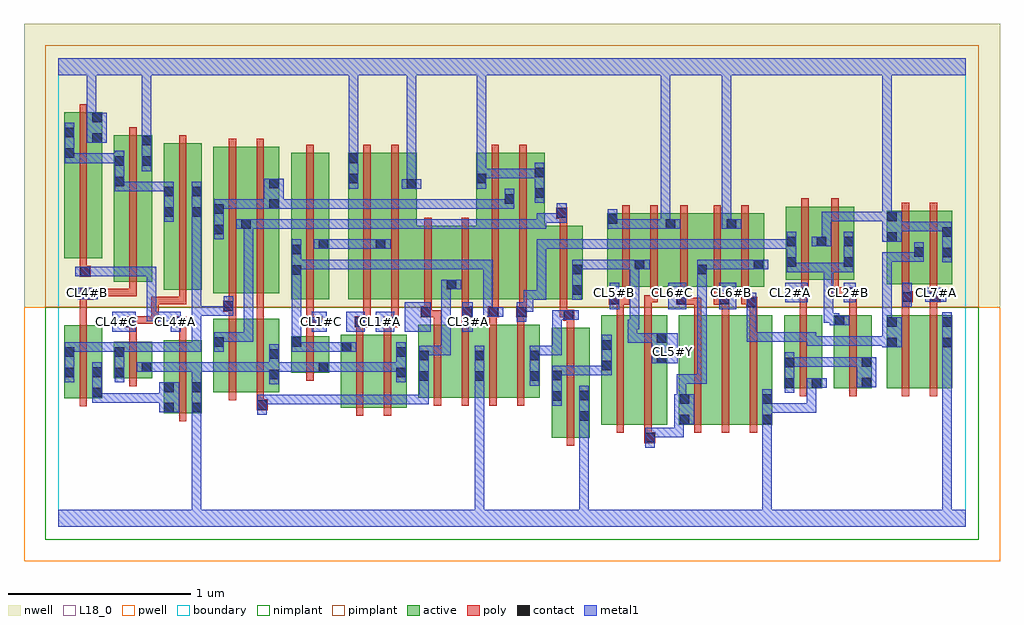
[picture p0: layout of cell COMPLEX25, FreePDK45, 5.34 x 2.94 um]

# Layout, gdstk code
import gdstk
lib = gdstk.Library(unit=1e-6, precision=1e-09)
def R(c, l, rs):  # rectangles x0, y0, x1, y1
    for r in rs: c.add(gdstk.rectangle(r[:2], r[2:], *l))
def A(c, l, x, y, w, h, nx, ny, dx, dy):  # array of equal rectangles
    R(c, l, [(x+i*dx, y+j*dy, x+i*dx+w, y+j*dy+h) for i in range(nx) for j in range(ny)])
active = (1, 0)
pwell = (2, 0)
nwell = (3, 0)
nimplant = (4, 0)
pimplant = (5, 0)
poly = (9, 0)
contact = (10, 0)
metal1 = (11, 0)
L18_0 = (18, 0)
boundary = (235, 0)

complex25 = lib.new_cell('COMPLEX25')
R(complex25, active, [(2.696,0.486,2.904,1.086), (2.844,0.486,2.904,1.086), (2.696,0.556,2.756,1.086), (2.968,0.556,3.028,1.156), (2.968,0.556,3.148,1.156), (3.148,0.556,3.328,1.156), (3.268,0.556,3.328,1.156), (3.392,0.556,3.452,1.156), (3.392,0.556,3.572,1.156), (3.572,0.556,3.724,1.156), (3.724,0.556,3.904,1.156), (3.844,0.556,3.904,1.156), (0.576,0.62,0.636,1.02), (0.576,0.62,0.784,1.02), (0.724,0.62,0.784,1.02), (1.544,0.65,1.724,1.05), (1.724,0.65,1.904,1.05), (1.844,0.65,1.904,1.05), (0.032,0.702,0.092,1.102), (0.032,0.702,0.24,1.102), (0.18,0.702,0.24,1.102), (1.968,0.704,2.028,1.104), (1.968,0.704,2.148,1.104), (2.148,0.704,2.332,1.104), (2.272,0.704,2.332,1.104), (2.272,0.704,2.452,1.104), (2.452,0.704,2.632,1.104), (2.572,0.704,2.632,1.104), (0.848,0.736,1.028,1.136), (1.028,0.736,1.208,1.136), (1.148,0.736,1.208,1.136), (0.848,0.756,0.908,1.136), (1.544,0.756,1.604,1.05), (3.968,0.756,4.028,1.156), (3.968,0.756,4.176,1.156), (4.116,0.756,4.176,0.844), (4.24,0.756,4.3,1.156), (4.24,0.756,4.448,1.156), (4.388,0.756,4.448,1.156), (4.528,0.756,4.588,1.156), (4.528,0.756,4.708,1.156), (4.708,0.756,4.888,1.156), (4.828,0.756,4.888,1.156), (0.304,0.812,0.364,1.012), (0.304,0.812,0.512,1.012), (0.452,0.842,0.512,1.012), (1.272,0.842,1.332,1.042), (1.272,0.842,1.48,1.042), (1.42,0.842,1.48,1.042), (1.272,1.244,1.48,2.044), (1.272,1.244,1.332,2.044), (1.42,1.244,1.48,2.044), (1.584,1.244,1.792,2.044), (1.732,1.244,1.96,2.044), (1.9,1.244,2.178,1.644), (2.118,1.244,2.344,1.644), (2.284,1.244,2.496,2.044), (2.436,1.244,2.66,2.044), (2.6,1.244,2.866,1.644), (2.806,1.244,2.866,1.644), (0.848,1.276,1.056,2.076), (0.848,1.276,0.908,2.076), (0.996,1.276,1.208,2.076), (2.118,1.294,2.178,1.644), (0.576,1.296,0.784,2.096), (0.576,1.296,0.636,2.044), (0.724,1.296,0.784,2.044), (3,1.312,3.208,1.712), (3.148,1.312,3.376,1.712), (3.316,1.312,3.548,1.712), (3.488,1.312,3.71,1.712), (3.65,1.312,3.858,1.712), (3.798,1.312,3.858,1.644), (4.528,1.326,4.588,1.726), (4.528,1.326,4.736,1.726), (4.676,1.326,4.888,1.726), (4.828,1.326,4.888,1.726), (0.304,1.34,0.512,2.14), (0.304,1.34,0.364,2.044), (0.452,1.34,0.512,2.14), (3.978,1.35,4.038,1.644), (3.978,1.35,4.202,1.75), (4.142,1.35,4.35,1.75), (4.29,1.35,4.35,1.75), (3.488,1.376,3.548,1.644), (3.148,1.404,3.208,1.644), (3.316,1.446,3.376,1.712), (3.65,1.446,3.71,1.712), (0.996,1.452,1.056,2.044), (1.148,1.452,1.208,2.076), (3,1.452,3.06,1.712), (0.032,1.466,0.24,2.266), (0.032,1.466,0.092,2.184), (0.18,1.466,0.24,2.266), (4.676,1.472,4.736,1.644), (1.732,1.514,1.792,2.044), (4.142,1.528,4.202,1.644), (2.436,1.538,2.496,2.044), (2.6,1.538,2.66,1.966), (1.584,1.556,1.644,2.044), (1.9,1.644,1.96,1.904), (2.284,1.644,2.344,1.932)])
R(complex25, pwell, [(-0.188,-0.188,5.148,1.2)])
R(complex25, nwell, [(-0.188,1.2,5.148,2.748)])
R(complex25, nimplant, [(-0.072,-0.072,5.032,1.2)])
R(complex25, pimplant, [(-0.072,1.2,5.032,2.632)])
A(complex25, poly, 3.476, 0.512, 0.04, 0.688, 3, 1, 0.152, 0)
A(complex25, poly, 2.052, 0.66, 0.04, 0.488, 4, 1, 0.152, 0)
A(complex25, poly, 2.052, 1.108, 0.04, 0.076, 4, 1, 0.152, 0)
R(complex25, poly, [(2.78,0.442,2.82,1.13), (3.204,0.456,3.264,0.516), (3.204,0.476,3.244,0.552), (3.052,0.512,3.092,1.2), (3.204,0.512,3.244,1.2), (0.66,0.576,0.7,1.064), (1.628,0.606,1.668,1.094), (1.78,0.606,1.82,1.094), (1.084,0.636,1.144,0.696), (1.084,0.656,1.124,0.732), (0.116,0.658,0.156,1.146), (0.932,0.692,0.972,1.18), (1.084,0.692,1.124,1.18), (4.052,0.712,4.092,1.2), (4.324,0.712,4.364,1.2), (4.612,0.712,4.652,1.2), (4.764,0.712,4.804,1.2), (0.388,0.768,0.428,1.056), (1.356,0.798,1.396,1.086), (0.388,1.016,0.428,1.13), (0.66,1.024,0.7,1.13), (1.356,1.046,1.396,1.13), (1.628,1.054,1.668,1.13), (1.78,1.054,1.82,1.13), (0.368,1.09,0.428,1.15), (0.614,1.09,0.7,1.15), (1.356,1.09,1.396,1.13), (1.356,1.09,1.396,1.13), (1.356,1.09,1.442,1.15), (1.62,1.09,1.708,1.15), (1.628,1.09,1.668,1.13), (1.628,1.09,1.668,1.13), (1.78,1.09,1.82,1.13), (1.78,1.09,1.82,1.13), (1.78,1.09,1.86,1.15), (2.78,1.09,2.82,1.166), (0.116,1.106,0.156,1.28), (0.388,1.11,0.428,1.15), (0.388,1.11,0.428,1.15), (0.388,1.11,0.548,1.15), (0.508,1.11,0.548,1.15), (0.508,1.11,0.548,1.256), (1.356,1.11,1.396,1.24), (1.668,1.11,1.708,1.24), (1.82,1.11,1.86,1.24), (2.76,1.126,2.82,1.186), (0.932,1.14,0.972,1.216), (1.084,1.14,1.124,1.224), (1.98,1.144,2.04,1.204), (2,1.144,2.04,1.184), (2,1.144,2.092,1.184), (2.204,1.144,2.244,1.184), (2.204,1.144,2.244,1.184), (2.204,1.144,2.264,1.204), (2.348,1.144,2.408,1.204), (2.356,1.144,2.396,1.184), (2.356,1.144,2.396,1.184), (2.502,1.144,2.562,1.204), (2.508,1.144,2.548,1.184), (2.508,1.144,2.548,1.184), (2.742,1.146,2.782,1.24), (2.742,1.146,2.8,1.186), (2.76,1.146,2.8,1.186), (3.052,1.16,3.092,1.252), (3.204,1.16,3.244,1.266), (3.476,1.16,3.516,1.252), (3.628,1.16,3.668,1.252), (3.78,1.16,3.82,1.236), (4.052,1.16,4.092,1.29), (4.324,1.16,4.364,1.29), (4.612,1.16,4.652,1.266), (4.764,1.16,4.804,1.266), (2,1.164,2.04,1.24), (2.204,1.164,2.244,1.24), (2.368,1.164,2.408,1.24), (2.52,1.164,2.56,1.24), (0.9,1.176,0.972,1.236), (0.932,1.176,0.972,1.216), (0.932,1.176,0.972,1.216), (1.084,1.184,1.124,1.224), (1.084,1.184,1.124,1.224), (1.084,1.184,1.124,1.224), (1.084,1.184,1.124,1.272), (0.932,1.196,0.972,1.272), (3.76,1.196,3.82,1.256), (1.356,1.2,1.396,2.088), (1.668,1.2,1.708,2.088), (1.82,1.2,1.86,2.088), (2,1.2,2.04,1.688), (2.204,1.2,2.244,1.688), (2.368,1.2,2.408,2.088), (2.52,1.2,2.56,2.088), (2.742,1.2,2.782,1.688), (3.01,1.212,3.124,1.272), (3.052,1.212,3.092,1.252), (3.052,1.212,3.092,1.252), (3.378,1.212,3.44,1.272), (3.4,1.212,3.44,1.252), (3.4,1.212,3.516,1.252), (3.582,1.212,3.668,1.272), (3.628,1.212,3.668,1.252), (3.628,1.212,3.668,1.252), (0.508,1.216,0.548,1.256), (0.508,1.216,0.7,1.256), (0.66,1.216,0.7,1.292), (0.66,1.216,0.7,1.256), (3.734,1.216,3.774,1.308), (3.734,1.216,3.8,1.256), (3.76,1.216,3.8,1.256), (3.204,1.226,3.276,1.266), (3.236,1.226,3.276,1.266), (3.236,1.226,3.276,1.266), (3.236,1.226,3.276,1.308), (4.61,1.226,4.67,1.286), (4.764,1.226,4.804,1.266), (4.764,1.226,4.804,1.266), (4.764,1.226,4.824,1.286), (0.932,1.232,0.972,2.12), (1.084,1.232,1.124,2.12), (3.084,1.232,3.124,1.308), (3.4,1.232,3.44,1.308), (3.582,1.232,3.622,1.308), (0.116,1.24,0.19,1.3), (4.612,1.246,4.652,1.322), (4.612,1.246,4.652,1.286), (4.612,1.246,4.652,1.286), (4.764,1.246,4.804,1.322), (4.042,1.25,4.102,1.31), (4.052,1.25,4.092,1.29), (4.052,1.25,4.092,1.29), (4.226,1.25,4.35,1.31), (4.31,1.25,4.35,1.29), (4.31,1.25,4.364,1.29), (0.66,1.252,0.7,2.14), (0.15,1.26,0.302,1.3), (0.262,1.26,0.302,1.3), (0.262,1.26,0.302,1.3), (0.262,1.26,0.302,1.3), (0.262,1.26,0.302,1.3), (0.262,1.26,0.302,1.3), (0.262,1.26,0.428,1.3), (0.388,1.26,0.428,1.336), (0.388,1.26,0.428,1.3), (3.084,1.268,3.124,1.756), (3.236,1.268,3.276,1.756), (3.4,1.268,3.44,1.756), (3.582,1.268,3.622,1.756), (3.734,1.268,3.774,1.756), (4.062,1.27,4.102,1.346), (4.226,1.27,4.266,1.346), (4.612,1.282,4.652,1.77), (4.764,1.282,4.804,1.77), (0.388,1.296,0.428,2.184), (4.062,1.306,4.102,1.794), (4.226,1.306,4.266,1.794), (0.116,1.366,0.176,1.426), (0.116,1.386,0.156,1.462), (0.116,1.422,0.156,2.31), (2.742,1.648,2.782,1.724), (2.722,1.684,2.782,1.744)])
R(complex25, contact, [(3.208,0.46,3.26,0.512), (3.396,0.56,3.448,0.612), (3.848,0.56,3.9,0.612), (2.848,0.578,2.9,0.63), (0.58,0.624,0.632,0.676), (0.728,0.624,0.78,0.676), (1.088,0.64,1.14,0.692), (3.396,0.672,3.448,0.724), (3.848,0.672,3.9,0.724), (2.7,0.688,2.752,0.74), (2.848,0.69,2.9,0.742), (0.184,0.706,0.236,0.758), (0.58,0.736,0.632,0.788), (0.728,0.736,0.78,0.788), (3.972,0.76,4.024,0.812), (4.12,0.76,4.172,0.812), (4.392,0.762,4.444,0.814), (1.972,0.798,2.024,0.85), (2.276,0.798,2.328,0.85), (2.576,0.798,2.628,0.85), (2.7,0.8,2.752,0.852), (1.152,0.806,1.204,0.858), (0.036,0.816,0.088,0.868), (0.308,0.816,0.36,0.868), (1.848,0.816,1.9,0.868), (0.184,0.818,0.236,0.87), (0.456,0.846,0.508,0.898), (1.424,0.846,1.476,0.898), (2.972,0.856,3.024,0.908), (3.972,0.872,4.024,0.924), (4.392,0.874,4.444,0.926), (3.272,0.892,3.324,0.944), (1.972,0.91,2.024,0.962), (2.276,0.91,2.328,0.962), (2.576,0.91,2.628,0.962), (1.152,0.918,1.204,0.97), (0.036,0.928,0.088,0.98), (0.308,0.928,0.36,0.98), (1.848,0.928,1.9,0.98), (1.548,0.956,1.6,1.008), (2.972,0.968,3.024,1.02), (4.532,0.98,4.584,1.032), (4.832,0.98,4.884,1.032), (0.852,0.984,0.904,1.036), (1.276,0.984,1.328,1.036), (3.272,1.004,3.324,1.056), (4.532,1.092,4.584,1.144), (4.832,1.092,4.884,1.144), (0.372,1.094,0.424,1.146), (0.618,1.094,0.67,1.146), (1.386,1.094,1.438,1.146), (1.624,1.094,1.676,1.146), (1.784,1.094,1.836,1.146), (4.244,1.1,4.296,1.152), (2.764,1.13,2.816,1.182), (1.984,1.148,2.036,1.2), (2.208,1.148,2.26,1.2), (2.352,1.148,2.404,1.2), (2.506,1.148,2.558,1.2), (0.904,1.18,0.956,1.232), (3.764,1.2,3.816,1.252), (3.014,1.216,3.066,1.268), (3.382,1.216,3.434,1.268), (3.612,1.216,3.664,1.268), (4.614,1.23,4.666,1.282), (4.768,1.23,4.82,1.282), (0.134,1.244,0.186,1.296), (4.046,1.254,4.098,1.306), (4.294,1.254,4.346,1.306), (2.81,1.268,2.862,1.32), (2.122,1.298,2.174,1.35), (0.12,1.37,0.172,1.422), (1.276,1.378,1.328,1.43), (2.81,1.38,2.862,1.432), (3.492,1.38,3.544,1.432), (3.152,1.408,3.204,1.46), (3.802,1.408,3.854,1.46), (3.982,1.42,4.034,1.472), (4.294,1.42,4.346,1.472), (4.832,1.474,4.884,1.526), (4.68,1.476,4.732,1.528), (1.276,1.49,1.328,1.542), (1.424,1.518,1.476,1.57), (1.736,1.518,1.788,1.57), (3.982,1.532,4.034,1.584), (4.146,1.532,4.198,1.584), (4.294,1.532,4.346,1.584), (4.532,1.558,4.584,1.61), (4.832,1.586,4.884,1.638), (0.852,1.598,0.904,1.65), (1,1.628,1.052,1.68), (3.32,1.628,3.372,1.68), (3.654,1.628,3.706,1.68), (3.004,1.656,3.056,1.708), (4.532,1.67,4.584,1.722), (2.726,1.688,2.778,1.74), (0.58,1.694,0.632,1.746), (0.728,1.694,0.78,1.746), (0.852,1.71,0.904,1.762), (1.152,1.738,1.204,1.79), (2.44,1.766,2.492,1.818), (2.604,1.798,2.656,1.85), (0.58,1.806,0.632,1.858), (0.728,1.806,0.78,1.858), (1.904,1.848,1.956,1.9), (1.152,1.85,1.204,1.902), (0.308,1.862,0.36,1.914), (1.588,1.876,1.64,1.928), (2.288,1.876,2.34,1.928), (2.604,1.91,2.656,1.962), (0.456,1.972,0.508,2.024), (0.308,1.974,0.36,2.026), (1.588,1.988,1.64,2.04), (0.036,2.016,0.088,2.068), (0.456,2.084,0.508,2.136), (0.184,2.098,0.236,2.15), (0.036,2.128,0.088,2.18), (0.184,2.21,0.236,2.262)])
A(complex25, metal1, 3.004, 1.518, 0.052, 0.052, 3, 2, 0.11, 0.11)
R(complex25, metal1, [(0,0,4.96,0.092), (0.728,0.04,0.78,0.092), (0.728,0.04,0.78,0.092), (0.728,0.04,0.78,0.092), (0.728,0.04,0.78,0.092), (0.728,0.04,0.78,0.092), (0.728,0.04,0.78,0.092), (0.728,0.04,0.78,0.648), (2.276,0.04,2.328,0.092), (2.276,0.04,2.328,0.092), (2.276,0.04,2.328,0.092), (2.276,0.04,2.328,0.092), (2.276,0.04,2.328,0.092), (2.276,0.04,2.328,0.092), (2.276,0.04,2.328,0.822), (2.848,0.04,2.9,0.092), (2.848,0.04,2.9,0.092), (2.848,0.04,2.9,0.092), (2.848,0.04,2.9,0.092), (2.848,0.04,2.9,0.092), (2.848,0.04,2.9,0.092), (2.848,0.04,2.9,0.092), (2.848,0.04,2.9,0.092), (2.848,0.04,2.9,0.602), (3.848,0.04,3.9,0.092), (3.848,0.04,3.9,0.092), (3.848,0.04,3.9,0.092), (3.848,0.04,3.9,0.092), (3.848,0.04,3.9,0.092), (3.848,0.04,3.9,0.092), (3.848,0.04,3.9,0.584), (4.832,0.04,4.884,0.092), (4.832,0.04,4.884,0.092), (4.832,0.04,4.884,0.092), (4.832,0.04,4.884,0.092), (4.832,0.04,4.884,0.092), (4.832,0.04,4.884,0.092), (4.832,0.04,4.884,0.092), (4.832,0.04,4.884,0.092), (4.832,0.04,4.884,0.092), (4.832,0.04,4.884,0.092), (4.832,0.04,4.884,0.092), (4.832,0.04,4.884,0.092), (4.832,0.04,4.884,1.004), (3.208,0.432,3.26,0.54), (3.208,0.488,3.276,0.54), (3.224,0.488,3.276,0.54), (3.224,0.488,3.42,0.54), (3.368,0.488,3.42,0.54), (3.368,0.488,3.42,0.612), (3.848,0.532,3.9,0.584), (3.848,0.532,3.9,0.584), (3.848,0.532,3.9,0.752), (2.848,0.55,2.9,0.77), (3.368,0.56,3.476,0.724), (0.728,0.596,0.78,0.648), (0.728,0.596,0.78,0.648), (0.728,0.596,0.78,0.648), (0.728,0.596,0.78,0.648), (0.728,0.596,0.78,0.648), (0.728,0.596,0.78,0.648), (0.728,0.596,0.78,0.816), (1.088,0.612,1.14,0.72), (3.848,0.622,4.01,0.674), (3.958,0.622,4.01,0.674), (3.958,0.622,4.01,0.674), (3.958,0.622,4.01,0.674), (3.958,0.622,4.144,0.674), (4.092,0.622,4.144,0.674), (4.092,0.622,4.144,0.674), (4.092,0.622,4.144,0.674), (4.092,0.622,4.144,0.812), (0.552,0.624,0.66,0.788), (2.7,0.66,2.752,0.88), (1.088,0.668,1.232,0.72), (1.18,0.668,1.232,0.72), (1.18,0.668,1.33,0.72), (1.278,0.668,1.33,0.72), (1.278,0.668,1.342,0.72), (1.29,0.668,1.342,0.72), (1.29,0.668,1.516,0.72), (1.464,0.668,1.516,0.72), (1.464,0.668,1.516,0.72), (1.464,0.668,1.516,0.72), (1.464,0.668,1.676,0.72), (1.624,0.668,1.676,0.72), (1.624,0.668,1.676,0.72), (1.624,0.668,1.676,0.72), (1.624,0.668,1.798,0.72), (1.746,0.668,1.798,0.72), (1.746,0.668,1.798,0.72), (1.746,0.668,1.798,0.72), (1.746,0.668,2.024,0.72), (1.972,0.668,2.024,0.72), (1.972,0.668,2.024,0.822), (3.382,0.672,3.434,0.724), (3.382,0.672,3.434,0.724), (3.382,0.672,3.434,0.724), (3.382,0.672,3.434,0.724), (3.382,0.672,3.434,0.834), (0.184,0.678,0.236,0.898), (0.184,0.678,0.36,0.73), (0.308,0.678,0.36,0.73), (0.308,0.678,0.36,0.73), (0.308,0.678,0.36,0.73), (0.308,0.678,0.556,0.73), (0.504,0.678,0.556,0.73), (0.504,0.678,0.604,0.73), (3.972,0.732,4.024,0.952), (4.092,0.76,4.2,0.812), (4.364,0.762,4.472,0.926), (0.728,0.764,0.78,0.816), (0.728,0.764,0.78,0.816), (0.728,0.764,0.78,0.898), (1.972,0.77,2.024,0.99), (2.276,0.77,2.328,0.822), (2.276,0.77,2.328,0.822), (2.276,0.77,2.328,0.822), (2.276,0.77,2.328,0.822), (2.276,0.77,2.328,0.822), (2.276,0.77,2.328,0.822), (2.276,0.77,2.328,0.99), (2.576,0.77,2.628,0.99), (1.152,0.778,1.204,0.998), (3.382,0.782,3.434,0.834), (3.382,0.782,3.434,0.834), (3.382,0.782,3.434,0.834), (3.382,0.782,3.544,0.834), (3.492,0.782,3.544,0.834), (3.492,0.782,3.544,0.834), (3.492,0.782,3.544,0.834), (3.492,0.782,3.544,0.834), (3.492,0.782,3.544,0.834), (3.492,0.782,3.544,1.404), (0.036,0.788,0.088,1.008), (0.308,0.788,0.36,1.008), (1.848,0.788,1.9,1.008), (2.7,0.828,2.862,0.88), (2.81,0.828,2.862,0.88), (2.81,0.828,2.862,0.88), (2.81,0.828,2.862,0.88), (2.81,0.828,3.024,0.88), (2.972,0.828,3.024,1.048), (0.428,0.846,0.536,0.898), (0.484,0.846,0.536,0.898), (0.484,0.846,0.536,0.898), (0.484,0.846,0.78,0.898), (0.728,0.846,0.78,0.898), (0.728,0.846,0.78,0.898), (0.728,0.846,0.78,0.898), (0.728,0.846,0.89,0.898), (0.838,0.846,0.89,0.898), (0.838,0.846,0.89,0.898), (0.838,0.846,0.89,0.898), (0.838,0.846,1.066,0.898), (1.014,0.846,1.066,0.898), (1.014,0.846,1.066,0.898), (1.014,0.846,1.066,0.898), (1.014,0.846,1.204,0.898), (1.152,0.846,1.33,0.898), (1.278,0.846,1.33,0.898), (1.278,0.846,1.342,0.898), (1.29,0.846,1.342,0.898), (1.29,0.846,1.448,0.898), (1.396,0.846,1.504,0.898), (1.452,0.846,1.536,0.898), (1.484,0.846,1.536,0.898), (1.484,0.846,1.664,0.898), (1.612,0.846,1.664,0.898), (1.612,0.846,1.688,0.898), (1.636,0.846,1.688,0.898), (1.636,0.846,1.786,0.898), (1.734,0.846,1.786,0.898), (1.734,0.846,1.9,0.898), (3.972,0.874,4.024,0.926), (3.972,0.874,4.024,0.926), (3.972,0.874,4.236,0.926), (4.184,0.874,4.236,0.926), (4.184,0.874,4.236,0.926), (4.184,0.874,4.236,0.926), (4.184,0.874,4.416,0.926), (4.364,0.874,4.416,0.926), (4.364,0.874,4.416,0.926), (3.244,0.892,3.386,1.056), (1.972,0.938,2.024,0.99), (1.972,0.938,2.024,0.99), (1.972,0.938,2.146,0.99), (2.094,0.938,2.146,0.99), (2.094,0.938,2.146,0.99), (2.094,0.938,2.146,0.99), (2.094,0.938,2.146,0.99), (2.094,0.938,2.146,0.99), (2.094,0.938,2.146,1.35), (2.576,0.938,2.752,0.99), (2.7,0.938,2.752,0.99), (2.7,0.938,2.752,1.182), (4.832,0.952,4.884,1.172), (0.036,0.956,0.088,1.008), (0.036,0.956,0.088,1.008), (0.036,0.956,0.236,1.008), (0.184,0.956,0.236,1.008), (0.184,0.956,0.36,1.008), (0.308,0.956,0.36,1.008), (0.308,0.956,0.36,1.008), (0.308,0.956,0.36,1.008), (0.308,0.956,0.36,1.008), (0.308,0.956,0.534,1.008), (0.482,0.956,0.534,1.008), (0.482,0.956,0.534,1.008), (0.482,0.956,0.534,1.008), (0.482,0.956,0.78,1.008), (0.728,0.956,0.78,1.008), (0.728,0.956,0.78,1.008), (0.728,0.956,0.78,1.008), (0.728,0.956,0.78,1.204), (0.852,0.956,0.904,1.064), (1.276,0.956,1.328,1.064), (1.276,0.956,1.342,1.008), (1.29,0.956,1.342,1.008), (1.29,0.956,1.516,1.008), (1.464,0.956,1.516,1.008), (1.464,0.956,1.572,1.008), (1.52,0.956,1.628,1.008), (4.504,0.98,4.612,1.144), (4.092,0.99,4.144,1.042), (4.092,0.99,4.144,1.042), (4.092,0.99,4.144,1.042), (4.092,0.99,4.346,1.042), (4.092,0.99,4.144,1.062), (4.294,0.99,4.346,1.042), (4.294,0.99,4.346,1.042), (4.294,0.99,4.346,1.042), (4.294,0.99,4.556,1.042), (3.114,1.004,3.166,1.056), (3.114,1.004,3.276,1.056), (3.114,1.004,3.166,1.13), (3.224,1.004,3.276,1.056), (3.224,1.004,3.296,1.056), (3.764,1.01,3.816,1.062), (3.764,1.01,4.01,1.062), (3.764,1.01,3.816,1.224), (3.958,1.01,4.01,1.062), (3.958,1.01,4.01,1.062), (3.958,1.01,4.01,1.062), (3.958,1.01,4.144,1.062), (4.092,1.01,4.144,1.062), (0.852,1.012,0.904,1.064), (0.852,1.012,0.904,1.064), (0.852,1.012,1.066,1.064), (1.014,1.012,1.066,1.064), (1.014,1.012,1.066,1.68), (1.276,1.012,1.328,1.064), (1.276,1.012,1.328,1.064), (1.276,1.012,1.328,1.402), (0.294,1.066,0.424,1.174), (0.614,1.066,0.67,1.174), (1.386,1.066,1.466,1.174), (1.574,1.066,1.676,1.174), (1.734,1.066,1.836,1.174), (1.894,1.066,2.036,1.228), (2.208,1.066,2.266,1.228), (3.114,1.078,3.176,1.13), (3.124,1.078,3.176,1.13), (3.124,1.078,3.176,1.13), (3.124,1.078,3.176,1.13), (3.124,1.078,3.176,1.13), (3.124,1.078,3.176,1.46), (4.504,1.092,4.556,1.144), (4.504,1.092,4.556,1.144), (4.504,1.092,4.556,1.144), (4.504,1.092,4.556,1.144), (4.504,1.092,4.556,1.5), (4.216,1.1,4.324,1.152), (4.216,1.1,4.268,1.166), (4.184,1.114,4.236,1.444), (4.184,1.114,4.268,1.166), (2.506,1.12,2.558,1.228), (0.482,1.122,0.534,1.174), (0.482,1.122,0.534,1.174), (0.482,1.122,0.534,1.174), (0.482,1.122,0.666,1.174), (0.482,1.122,0.534,1.422), (2.7,1.13,2.752,1.182), (2.7,1.13,2.788,1.182), (2.736,1.13,2.844,1.182), (2.324,1.148,2.376,1.2), (2.324,1.148,2.376,1.2), (2.324,1.148,2.432,1.2), (2.324,1.148,2.376,1.46), (0.728,1.152,0.78,1.204), (0.728,1.152,0.78,1.204), (0.728,1.152,0.78,1.204), (0.728,1.152,0.914,1.204), (0.728,1.152,0.78,1.718), (0.862,1.152,0.914,1.204), (0.862,1.152,0.956,1.204), (0.904,1.152,0.956,1.26), (3.764,1.172,3.816,1.224), (3.764,1.172,3.816,1.224), (3.764,1.172,3.816,1.28), (2.506,1.176,2.596,1.228), (2.544,1.176,2.596,1.228), (2.544,1.176,2.596,1.292), (3.014,1.188,3.066,1.334), (3.334,1.188,3.434,1.334), (3.612,1.188,3.706,1.334), (4.614,1.202,4.666,1.334), (3.974,1.226,4.098,1.334), (4.294,1.226,4.358,1.334), (4.74,1.23,4.854,1.306), (2.544,1.24,2.596,1.292), (2.544,1.24,2.668,1.292), (2.616,1.24,2.668,1.292), (2.616,1.24,2.668,1.57), (2.81,1.24,2.862,1.46), (0.106,1.244,0.214,1.306), (2.094,1.298,2.146,1.35), (2.094,1.298,2.146,1.35), (2.094,1.298,2.146,1.35), (2.094,1.298,2.146,1.35), (2.094,1.298,2.146,1.35), (2.094,1.298,2.146,1.35), (2.094,1.298,2.202,1.35), (1.276,1.35,1.328,1.402), (1.276,1.35,1.328,1.402), (1.276,1.35,1.328,1.57), (3.492,1.352,3.544,1.404), (3.492,1.352,3.544,1.404), (3.492,1.352,3.544,1.404), (3.492,1.352,3.544,1.404), (3.492,1.352,3.544,1.46), (0.092,1.37,0.2,1.422), (0.148,1.37,0.2,1.422), (0.148,1.37,0.2,1.422), (0.148,1.37,0.346,1.422), (0.294,1.37,0.346,1.422), (0.294,1.37,0.346,1.422), (0.294,1.37,0.346,1.422), (0.294,1.37,0.534,1.422), (0.482,1.37,0.534,1.422), (3.982,1.392,4.034,1.444), (3.982,1.392,4.034,1.444), (3.982,1.392,4.034,1.612), (3.982,1.392,4.236,1.444), (4.184,1.392,4.236,1.444), (4.184,1.392,4.236,1.444), (4.184,1.392,4.236,1.444), (4.184,1.392,4.236,1.444), (4.184,1.392,4.236,1.444), (4.184,1.392,4.236,1.444), (4.184,1.392,4.236,1.444), (4.184,1.392,4.346,1.444), (4.294,1.392,4.346,1.444), (4.294,1.392,4.346,1.444), (4.294,1.392,4.346,1.612), (1.276,1.408,1.394,1.46), (1.342,1.408,1.394,1.46), (1.342,1.408,1.516,1.46), (1.464,1.408,1.516,1.46), (1.464,1.408,1.516,1.46), (1.464,1.408,1.516,1.46), (1.464,1.408,1.516,1.46), (1.464,1.408,1.516,1.46), (1.464,1.408,1.646,1.46), (1.594,1.408,1.646,1.46), (1.594,1.408,1.646,1.46), (1.594,1.408,1.646,1.46), (1.594,1.408,1.836,1.46), (1.784,1.408,1.836,1.46), (1.784,1.408,1.836,1.46), (1.784,1.408,1.836,1.46), (1.784,1.408,2.036,1.46), (1.984,1.408,2.036,1.46), (1.984,1.408,2.036,1.46), (1.984,1.408,2.036,1.46), (1.984,1.408,2.218,1.46), (2.166,1.408,2.218,1.46), (2.166,1.408,2.218,1.46), (2.166,1.408,2.218,1.46), (2.166,1.408,2.376,1.46), (2.324,1.408,2.376,1.46), (2.324,1.408,2.376,1.46), (2.324,1.408,2.376,1.46), (2.81,1.408,3.056,1.46), (3.004,1.408,3.056,1.46), (3.004,1.408,3.056,1.46), (3.004,1.408,3.056,1.46), (3.004,1.408,3.176,1.46), (3.124,1.408,3.232,1.46), (3.492,1.408,3.706,1.46), (3.654,1.408,3.706,1.46), (3.654,1.408,3.706,1.46), (3.654,1.408,3.706,1.46), (3.654,1.408,3.826,1.46), (3.774,1.408,3.826,1.46), (3.774,1.408,3.826,1.46), (3.774,1.408,3.882,1.46), (4.832,1.446,4.884,1.666), (4.504,1.448,4.556,1.5), (4.504,1.448,4.556,1.5), (4.504,1.448,4.556,1.5), (4.504,1.448,4.556,1.5), (4.504,1.448,4.556,1.5), (4.504,1.448,4.732,1.5), (4.68,1.448,4.732,1.556), (1.396,1.518,1.504,1.57), (1.452,1.518,1.504,1.57), (1.452,1.518,1.504,1.57), (1.452,1.518,1.626,1.57), (1.574,1.518,1.626,1.57), (1.574,1.518,1.76,1.57), (1.708,1.518,1.816,1.57), (2.616,1.518,2.668,1.57), (2.616,1.518,2.862,1.57), (2.81,1.518,2.862,1.57), (2.81,1.518,2.862,1.57), (2.81,1.518,2.862,1.57), (2.81,1.518,3.056,1.57), (3.004,1.518,3.056,1.57), (3.004,1.518,3.056,1.57), (3.004,1.518,3.166,1.57), (3.114,1.518,3.276,1.57), (3.224,1.518,3.276,1.57), (3.224,1.518,3.276,1.57), (3.224,1.518,3.434,1.57), (3.382,1.518,3.434,1.57), (3.382,1.518,3.434,1.57), (3.382,1.518,3.434,1.57), (3.382,1.518,3.568,1.57), (3.516,1.518,3.568,1.57), (3.516,1.518,3.568,1.57), (3.516,1.518,3.568,1.57), (3.516,1.518,3.678,1.57), (3.626,1.518,3.678,1.57), (3.626,1.518,3.9,1.57), (3.848,1.518,3.9,1.57), (3.848,1.518,3.9,1.57), (3.848,1.518,3.9,1.57), (3.848,1.518,4.034,1.57), (4.118,1.532,4.226,1.584), (4.174,1.532,4.226,1.722), (4.504,1.558,4.612,1.722), (0.852,1.57,0.904,1.79), (4.56,1.614,4.612,1.666), (4.56,1.614,4.612,1.666), (4.56,1.614,4.774,1.666), (4.722,1.614,4.774,1.666), (4.722,1.614,4.884,1.666), (4.832,1.614,4.884,1.666), (4.832,1.614,4.884,1.666), (0.972,1.628,1.08,1.68), (1.014,1.628,1.066,1.68), (1.014,1.628,1.066,1.68), (1.014,1.628,1.066,1.68), (1.014,1.628,1.066,1.68), (1.014,1.628,1.066,1.68), (1.014,1.628,1.066,1.68), (1.014,1.628,1.066,1.68), (1.014,1.628,1.066,1.68), (1.014,1.628,1.218,1.68), (1.166,1.628,1.218,1.68), (1.166,1.628,1.218,1.68), (1.166,1.628,1.218,1.68), (1.166,1.628,1.218,1.68), (1.166,1.628,1.218,1.68), (1.166,1.628,1.328,1.68), (1.276,1.628,1.328,1.68), (1.276,1.628,1.342,1.68), (1.29,1.628,1.342,1.68), (1.29,1.628,1.516,1.68), (1.464,1.628,1.516,1.68), (1.464,1.628,1.516,1.68), (1.464,1.628,1.516,1.68), (1.464,1.628,1.676,1.68), (1.624,1.628,1.676,1.68), (1.624,1.628,1.676,1.68), (1.624,1.628,1.676,1.68), (1.624,1.628,1.836,1.68), (1.784,1.628,1.836,1.68), (1.784,1.628,1.836,1.68), (1.784,1.628,1.836,1.68), (1.784,1.628,2.036,1.68), (1.984,1.628,2.036,1.68), (1.984,1.628,2.036,1.68), (1.984,1.628,2.036,1.68), (1.984,1.628,2.218,1.68), (2.166,1.628,2.218,1.68), (2.166,1.628,2.218,1.68), (2.166,1.628,2.218,1.68), (2.166,1.628,2.376,1.68), (2.324,1.628,2.376,1.68), (2.324,1.628,2.376,1.68), (2.324,1.628,2.376,1.68), (2.324,1.628,2.486,1.68), (2.434,1.628,2.486,1.68), (2.434,1.628,2.486,1.68), (2.434,1.628,2.486,1.68), (2.434,1.628,2.668,1.68), (2.616,1.628,2.668,1.68), (2.616,1.628,2.668,1.68), (2.616,1.628,2.668,1.68), (2.616,1.628,2.668,1.712), (3.004,1.628,3.056,1.68), (3.004,1.628,3.166,1.68), (3.004,1.628,3.056,1.736), (3.114,1.628,3.276,1.68), (3.224,1.628,3.344,1.68), (3.292,1.628,3.344,1.68), (3.292,1.628,3.344,1.68), (3.292,1.628,3.344,1.68), (3.292,1.628,3.344,1.68), (3.292,1.628,3.344,1.68), (3.292,1.628,3.344,1.68), (3.292,1.628,3.4,1.68), (3.292,1.628,3.344,2.52), (3.626,1.628,3.678,1.68), (3.626,1.628,3.678,1.68), (3.626,1.628,3.678,1.68), (3.626,1.628,3.678,1.68), (3.626,1.628,3.678,1.68), (3.626,1.628,3.678,1.68), (3.626,1.628,3.734,1.68), (3.626,1.628,3.678,2.52), (2.616,1.66,2.668,1.712), (2.616,1.66,2.778,1.712), (2.726,1.66,2.778,1.768), (0.58,1.666,0.632,1.886), (0.728,1.666,0.78,1.886), (4.174,1.67,4.226,1.722), (4.174,1.67,4.346,1.722), (4.294,1.67,4.346,1.722), (4.294,1.67,4.346,1.722), (4.294,1.67,4.346,1.722), (4.294,1.67,4.556,1.722), (4.504,1.67,4.556,1.722), (4.504,1.67,4.556,1.722), (4.504,1.67,4.556,1.722), (4.504,1.67,4.556,1.722), (4.504,1.67,4.556,1.722), (4.504,1.67,4.556,1.722), (4.504,1.67,4.556,2.52), (0.852,1.738,0.904,1.79), (0.852,1.738,0.904,1.79), (0.852,1.738,1.024,1.79), (0.972,1.738,1.024,1.79), (0.972,1.738,1.176,1.79), (1.124,1.738,1.176,1.79), (1.124,1.738,1.176,1.79), (1.124,1.738,1.232,1.902), (1.18,1.738,1.338,1.79), (1.286,1.738,1.338,1.79), (1.286,1.738,1.338,1.79), (1.286,1.738,1.338,1.79), (1.286,1.738,1.342,1.79), (1.29,1.738,1.342,1.79), (1.29,1.738,1.516,1.79), (1.464,1.738,1.516,1.79), (1.464,1.738,1.516,1.79), (1.464,1.738,1.516,1.79), (1.464,1.738,1.676,1.79), (1.624,1.738,1.676,1.79), (1.624,1.738,1.676,1.79), (1.624,1.738,1.676,1.79), (1.624,1.738,1.836,1.79), (1.784,1.738,1.836,1.79), (1.784,1.738,1.836,1.79), (1.784,1.738,1.836,1.79), (1.784,1.738,2.036,1.79), (1.984,1.738,2.036,1.79), (1.984,1.738,2.036,1.79), (1.984,1.738,2.036,1.79), (1.984,1.738,2.218,1.79), (2.166,1.738,2.218,1.79), (2.166,1.738,2.218,1.79), (2.166,1.738,2.218,1.79), (2.166,1.738,2.376,1.79), (2.324,1.738,2.376,1.79), (2.324,1.738,2.376,1.79), (2.324,1.738,2.376,1.79), (2.324,1.738,2.492,1.79), (2.44,1.738,2.492,1.846), (2.604,1.77,2.656,1.99), (0.308,1.834,0.36,1.886), (0.308,1.834,0.36,1.886), (0.308,1.834,0.36,2.054), (0.308,1.834,0.47,1.886), (0.418,1.834,0.47,1.886), (0.418,1.834,0.632,1.886), (1.588,1.848,1.64,2.068), (1.876,1.848,1.984,1.9), (1.904,1.848,1.956,1.9), (1.904,1.848,1.956,1.9), (1.904,1.848,1.956,1.9), (1.904,1.848,1.956,1.9), (1.904,1.848,1.956,1.9), (1.904,1.848,1.956,1.9), (1.904,1.848,1.956,2.52), (2.288,1.848,2.34,1.956), (2.288,1.904,2.34,1.956), (2.288,1.904,2.34,1.956), (2.288,1.904,2.34,1.956), (2.288,1.904,2.34,1.956), (2.288,1.904,2.34,1.956), (2.288,1.904,2.34,1.956), (2.288,1.904,2.376,1.956), (2.288,1.904,2.34,2.52), (2.324,1.904,2.376,1.956), (2.324,1.904,2.486,1.956), (2.434,1.904,2.486,1.956), (2.434,1.904,2.53,1.956), (2.478,1.904,2.53,1.956), (2.478,1.904,2.656,1.956), (0.456,1.944,0.508,2.164), (0.036,1.988,0.088,2.04), (0.036,1.988,0.088,2.04), (0.036,1.988,0.088,2.208), (0.036,1.988,0.198,2.04), (0.146,1.988,0.198,2.04), (0.146,1.988,0.36,2.04), (1.588,2.016,1.64,2.068), (1.588,2.016,1.64,2.068), (1.588,2.016,1.64,2.068), (1.588,2.016,1.64,2.068), (1.588,2.016,1.64,2.068), (1.588,2.016,1.64,2.068), (1.588,2.016,1.64,2.068), (1.588,2.016,1.64,2.068), (1.588,2.016,1.64,2.52), (0.156,2.098,0.264,2.262), (0.456,2.112,0.508,2.52), (0.156,2.21,0.208,2.262), (0.156,2.21,0.208,2.262), (0.156,2.21,0.208,2.262), (0.156,2.21,0.208,2.262), (0.156,2.21,0.208,2.262), (0.156,2.21,0.208,2.262), (0.156,2.21,0.208,2.52), (0,2.468,4.96,2.56), (0.156,2.468,0.208,2.52), (0.156,2.468,0.208,2.52), (0.456,2.468,0.508,2.52), (0.456,2.468,0.508,2.52), (0.456,2.468,0.508,2.52), (0.456,2.468,0.508,2.52), (0.456,2.468,0.508,2.52), (0.456,2.468,0.508,2.52), (0.456,2.468,0.508,2.52), (0.456,2.468,0.508,2.52), (1.904,2.468,1.956,2.52), (1.904,2.468,1.956,2.52), (2.288,2.468,2.34,2.52), (2.288,2.468,2.34,2.52), (3.292,2.468,3.344,2.52), (3.292,2.468,3.344,2.52), (3.292,2.468,3.344,2.52), (3.292,2.468,3.344,2.52), (3.292,2.468,3.344,2.52), (3.292,2.468,3.344,2.52), (3.292,2.468,3.344,2.52), (3.292,2.468,3.344,2.52), (3.292,2.468,3.344,2.52), (3.292,2.468,3.344,2.52), (3.626,2.468,3.678,2.52), (3.626,2.468,3.678,2.52), (3.626,2.468,3.678,2.52), (3.626,2.468,3.678,2.52), (3.626,2.468,3.678,2.52), (3.626,2.468,3.678,2.52), (3.626,2.468,3.678,2.52), (3.626,2.468,3.678,2.52), (3.626,2.468,3.678,2.52), (3.626,2.468,3.678,2.52), (4.504,2.468,4.556,2.52), (4.504,2.468,4.556,2.52), (4.504,2.468,4.556,2.52), (4.504,2.468,4.556,2.52), (4.504,2.468,4.556,2.52), (4.504,2.468,4.556,2.52), (4.504,2.468,4.556,2.52), (4.504,2.468,4.556,2.52), (4.504,2.468,4.556,2.52), (4.504,2.468,4.556,2.52)])
A(complex25, L18_0, 1.414, 1.094, 0.052, 0.052, 4, 1, 0.16, 0)
A(complex25, L18_0, 3.014, 1.254, 0.052, 0.052, 6, 1, 0.32, 0)
A(complex25, L18_0, 3.004, 1.628, 0.052, 0.052, 3, 1, 0.11, 0)
R(complex25, L18_0, [(0,0,4.96,0.092), (0.728,0.04,0.78,0.092), (0.728,0.04,0.78,0.092), (0.728,0.04,0.78,0.092), (0.728,0.04,0.78,0.092), (0.728,0.04,0.78,0.092), (0.728,0.04,0.78,0.092), (0.728,0.04,0.78,0.648), (2.276,0.04,2.328,0.092), (2.276,0.04,2.328,0.092), (2.276,0.04,2.328,0.092), (2.276,0.04,2.328,0.092), (2.276,0.04,2.328,0.092), (2.276,0.04,2.328,0.092), (2.276,0.04,2.328,0.822), (2.848,0.04,2.9,0.092), (2.848,0.04,2.9,0.092), (2.848,0.04,2.9,0.092), (2.848,0.04,2.9,0.092), (2.848,0.04,2.9,0.092), (2.848,0.04,2.9,0.092), (2.848,0.04,2.9,0.092), (2.848,0.04,2.9,0.092), (2.848,0.04,2.9,0.602), (3.848,0.04,3.9,0.092), (3.848,0.04,3.9,0.092), (3.848,0.04,3.9,0.092), (3.848,0.04,3.9,0.092), (3.848,0.04,3.9,0.092), (3.848,0.04,3.9,0.092), (3.848,0.04,3.9,0.584), (4.832,0.04,4.884,0.092), (4.832,0.04,4.884,0.092), (4.832,0.04,4.884,0.092), (4.832,0.04,4.884,0.092), (4.832,0.04,4.884,0.092), (4.832,0.04,4.884,0.092), (4.832,0.04,4.884,0.092), (4.832,0.04,4.884,0.092), (4.832,0.04,4.884,0.092), (4.832,0.04,4.884,0.092), (4.832,0.04,4.884,0.092), (4.832,0.04,4.884,0.092), (4.832,0.04,4.884,1.004), (3.848,0.532,3.9,0.584), (3.848,0.532,3.9,0.584), (3.848,0.532,3.9,0.752), (2.848,0.55,2.9,0.77), (0.728,0.596,0.78,0.648), (0.728,0.596,0.78,0.648), (0.728,0.596,0.78,0.648), (0.728,0.596,0.78,0.648), (0.728,0.596,0.78,0.648), (0.728,0.596,0.78,0.648), (0.728,0.596,0.78,0.816), (3.848,0.622,4.01,0.674), (3.958,0.622,4.01,0.674), (3.958,0.622,4.01,0.674), (3.958,0.622,4.01,0.674), (3.958,0.622,4.144,0.674), (4.092,0.622,4.144,0.674), (4.092,0.622,4.144,0.674), (4.092,0.622,4.144,0.674), (4.092,0.622,4.144,0.812), (4.092,0.76,4.2,0.812), (0.728,0.764,0.78,0.816), (0.728,0.764,0.78,0.816), (0.728,0.764,0.78,0.898), (2.276,0.77,2.328,0.822), (2.276,0.77,2.328,0.822), (2.276,0.77,2.328,0.822), (2.276,0.77,2.328,0.822), (2.276,0.77,2.328,0.822), (2.276,0.77,2.328,0.822), (2.276,0.77,2.328,0.99), (1.152,0.778,1.204,0.998), (1.848,0.788,1.9,1.008), (0.428,0.846,0.536,0.898), (0.484,0.846,0.536,0.898), (0.484,0.846,0.536,0.898), (0.484,0.846,0.78,0.898), (0.728,0.846,0.78,0.898), (0.728,0.846,0.78,0.898), (0.728,0.846,0.78,0.898), (0.728,0.846,0.89,0.898), (0.838,0.846,0.89,0.898), (0.838,0.846,0.89,0.898), (0.838,0.846,0.89,0.898), (0.838,0.846,1.066,0.898), (1.014,0.846,1.066,0.898), (1.014,0.846,1.066,0.898), (1.014,0.846,1.066,0.898), (1.014,0.846,1.204,0.898), (1.152,0.846,1.33,0.898), (1.278,0.846,1.33,0.898), (1.278,0.846,1.342,0.898), (1.29,0.846,1.342,0.898), (1.29,0.846,1.448,0.898), (1.396,0.846,1.504,0.898), (1.452,0.846,1.536,0.898), (1.484,0.846,1.536,0.898), (1.484,0.846,1.664,0.898), (1.612,0.846,1.664,0.898), (1.612,0.846,1.688,0.898), (1.636,0.846,1.688,0.898), (1.636,0.846,1.786,0.898), (1.734,0.846,1.786,0.898), (1.734,0.846,1.9,0.898), (3.244,0.892,3.386,1.056), (3.334,0.934,3.386,0.986), (4.832,0.952,4.884,1.172), (3.114,1.004,3.166,1.056), (3.114,1.004,3.276,1.056), (3.114,1.004,3.166,1.13), (3.224,1.004,3.276,1.056), (3.224,1.004,3.296,1.056), (0.294,1.066,0.424,1.174), (0.614,1.066,0.67,1.174), (1.386,1.066,1.466,1.174), (1.574,1.066,1.676,1.174), (1.734,1.066,1.836,1.174), (1.894,1.066,2.036,1.228), (2.208,1.066,2.266,1.228), (3.114,1.078,3.176,1.13), (3.124,1.078,3.176,1.13), (3.124,1.078,3.176,1.13), (3.124,1.078,3.176,1.13), (3.124,1.078,3.176,1.13), (3.124,1.078,3.176,1.46), (0.294,1.094,0.346,1.146), (0.614,1.094,0.666,1.146), (2.214,1.094,2.266,1.146), (0.482,1.122,0.534,1.174), (0.482,1.122,0.534,1.174), (0.482,1.122,0.534,1.174), (0.482,1.122,0.534,1.422), (0.482,1.122,0.666,1.174), (3.014,1.188,3.066,1.334), (3.334,1.188,3.434,1.334), (3.612,1.188,3.706,1.334), (4.614,1.202,4.666,1.334), (3.974,1.226,4.098,1.334), (4.294,1.226,4.358,1.334), (4.74,1.23,4.854,1.306), (2.81,1.24,2.862,1.46), (0.106,1.244,0.214,1.306), (0.134,1.254,0.186,1.306), (4.774,1.254,4.826,1.306), (0.092,1.37,0.2,1.422), (0.148,1.37,0.2,1.422), (0.148,1.37,0.2,1.422), (0.148,1.37,0.346,1.422), (0.294,1.37,0.346,1.422), (0.294,1.37,0.346,1.422), (0.294,1.37,0.346,1.422), (0.294,1.37,0.534,1.422), (0.482,1.37,0.534,1.422), (2.81,1.408,3.056,1.46), (3.004,1.408,3.056,1.46), (3.004,1.408,3.056,1.46), (3.004,1.408,3.056,1.46), (3.004,1.408,3.176,1.46), (3.124,1.408,3.232,1.46), (4.832,1.446,4.884,1.666), (4.118,1.532,4.226,1.584), (4.174,1.532,4.226,1.722), (4.504,1.558,4.612,1.722), (4.56,1.614,4.612,1.666), (4.56,1.614,4.612,1.666), (4.56,1.614,4.774,1.666), (4.722,1.614,4.774,1.666), (4.722,1.614,4.884,1.666), (4.832,1.614,4.884,1.666), (4.832,1.614,4.884,1.666), (3.004,1.628,3.056,1.68), (3.004,1.628,3.166,1.68), (3.004,1.628,3.056,1.736), (3.114,1.628,3.276,1.68), (3.224,1.628,3.344,1.68), (3.292,1.628,3.4,1.68), (3.292,1.628,3.344,1.68), (3.292,1.628,3.344,1.68), (3.292,1.628,3.344,1.68), (3.292,1.628,3.344,1.68), (3.292,1.628,3.344,1.68), (3.292,1.628,3.344,1.68), (3.292,1.628,3.344,2.52), (3.626,1.628,3.734,1.68), (3.626,1.628,3.678,1.68), (3.626,1.628,3.678,1.68), (3.626,1.628,3.678,1.68), (3.626,1.628,3.678,1.68), (3.626,1.628,3.678,1.68), (3.626,1.628,3.678,1.68), (3.626,1.628,3.678,2.52), (4.174,1.67,4.226,1.722), (4.174,1.67,4.346,1.722), (4.294,1.67,4.346,1.722), (4.294,1.67,4.346,1.722), (4.294,1.67,4.346,1.722), (4.294,1.67,4.556,1.722), (4.504,1.67,4.556,1.722), (4.504,1.67,4.556,1.722), (4.504,1.67,4.556,1.722), (4.504,1.67,4.556,1.722), (4.504,1.67,4.556,1.722), (4.504,1.67,4.556,1.722), (4.504,1.67,4.556,2.52), (2.604,1.77,2.656,1.99), (1.588,1.848,1.64,2.068), (1.876,1.848,1.984,1.9), (1.904,1.848,1.956,1.9), (1.904,1.848,1.956,1.9), (1.904,1.848,1.956,1.9), (1.904,1.848,1.956,1.9), (1.904,1.848,1.956,1.9), (1.904,1.848,1.956,1.9), (1.904,1.848,1.956,2.52), (2.288,1.848,2.34,1.956), (2.288,1.904,2.34,1.956), (2.288,1.904,2.34,1.956), (2.288,1.904,2.34,1.956), (2.288,1.904,2.34,1.956), (2.288,1.904,2.34,1.956), (2.288,1.904,2.34,1.956), (2.288,1.904,2.34,2.52), (2.288,1.904,2.376,1.956), (2.324,1.904,2.376,1.956), (2.324,1.904,2.486,1.956), (2.434,1.904,2.486,1.956), (2.434,1.904,2.53,1.956), (2.478,1.904,2.53,1.956), (2.478,1.904,2.656,1.956), (0.456,1.944,0.508,2.164), (1.588,2.016,1.64,2.068), (1.588,2.016,1.64,2.068), (1.588,2.016,1.64,2.068), (1.588,2.016,1.64,2.068), (1.588,2.016,1.64,2.068), (1.588,2.016,1.64,2.068), (1.588,2.016,1.64,2.068), (1.588,2.016,1.64,2.068), (1.588,2.016,1.64,2.52), (0.156,2.098,0.264,2.262), (0.456,2.112,0.508,2.52), (0.156,2.21,0.208,2.262), (0.156,2.21,0.208,2.262), (0.156,2.21,0.208,2.262), (0.156,2.21,0.208,2.262), (0.156,2.21,0.208,2.262), (0.156,2.21,0.208,2.262), (0.156,2.21,0.208,2.52), (0,2.468,4.96,2.56), (0.156,2.468,0.208,2.52), (0.156,2.468,0.208,2.52), (0.456,2.468,0.508,2.52), (0.456,2.468,0.508,2.52), (0.456,2.468,0.508,2.52), (0.456,2.468,0.508,2.52), (0.456,2.468,0.508,2.52), (0.456,2.468,0.508,2.52), (0.456,2.468,0.508,2.52), (0.456,2.468,0.508,2.52), (1.904,2.468,1.956,2.52), (1.904,2.468,1.956,2.52), (2.288,2.468,2.34,2.52), (2.288,2.468,2.34,2.52), (3.292,2.468,3.344,2.52), (3.292,2.468,3.344,2.52), (3.292,2.468,3.344,2.52), (3.292,2.468,3.344,2.52), (3.292,2.468,3.344,2.52), (3.292,2.468,3.344,2.52), (3.292,2.468,3.344,2.52), (3.292,2.468,3.344,2.52), (3.292,2.468,3.344,2.52), (3.292,2.468,3.344,2.52), (3.626,2.468,3.678,2.52), (3.626,2.468,3.678,2.52), (3.626,2.468,3.678,2.52), (3.626,2.468,3.678,2.52), (3.626,2.468,3.678,2.52), (3.626,2.468,3.678,2.52), (3.626,2.468,3.678,2.52), (3.626,2.468,3.678,2.52), (3.626,2.468,3.678,2.52), (3.626,2.468,3.678,2.52), (4.504,2.468,4.556,2.52), (4.504,2.468,4.556,2.52), (4.504,2.468,4.556,2.52), (4.504,2.468,4.556,2.52), (4.504,2.468,4.556,2.52), (4.504,2.468,4.556,2.52), (4.504,2.468,4.556,2.52), (4.504,2.468,4.556,2.52), (4.504,2.468,4.556,2.52), (4.504,2.468,4.556,2.52)])
R(complex25, boundary, [(0,0,4.96,2.56)])
complex25.add(gdstk.Label('CL1#A', (1.76,1.12), layer=11, texttype=0))
complex25.add(gdstk.Label('CL1#B', (1.6,1.12), layer=11, texttype=0))
complex25.add(gdstk.Label('CL1#C', (1.44,1.12), layer=11, texttype=0))
complex25.add(gdstk.Label('CL2#A', (4,1.28), layer=11, texttype=0))
complex25.add(gdstk.Label('CL2#B', (4.32,1.28), layer=11, texttype=0))
complex25.add(gdstk.Label('CL3#A', (2.24,1.12), layer=11, texttype=0))
complex25.add(gdstk.Label('CL3#B', (1.92,1.12), layer=11, texttype=0))
complex25.add(gdstk.Label('CL4#A', (0.64,1.12), layer=11, texttype=0))
complex25.add(gdstk.Label('CL4#B', (0.16,1.28), layer=11, texttype=0))
complex25.add(gdstk.Label('CL4#C', (0.32,1.12), layer=11, texttype=0))
complex25.add(gdstk.Label('CL5#B', (3.04,1.28), layer=11, texttype=0))
complex25.add(gdstk.Label('CL5#Y', (3.36,0.96), layer=11, texttype=0))
complex25.add(gdstk.Label('CL6#B', (3.68,1.28), layer=11, texttype=0))
complex25.add(gdstk.Label('CL6#C', (3.36,1.28), layer=11, texttype=0))
complex25.add(gdstk.Label('CL7#A', (4.8,1.28), layer=11, texttype=0))
complex25.add(gdstk.Label('CL7#B', (4.64,1.28), layer=11, texttype=0))

lib.write_gds('COMPLEX25.gds')
